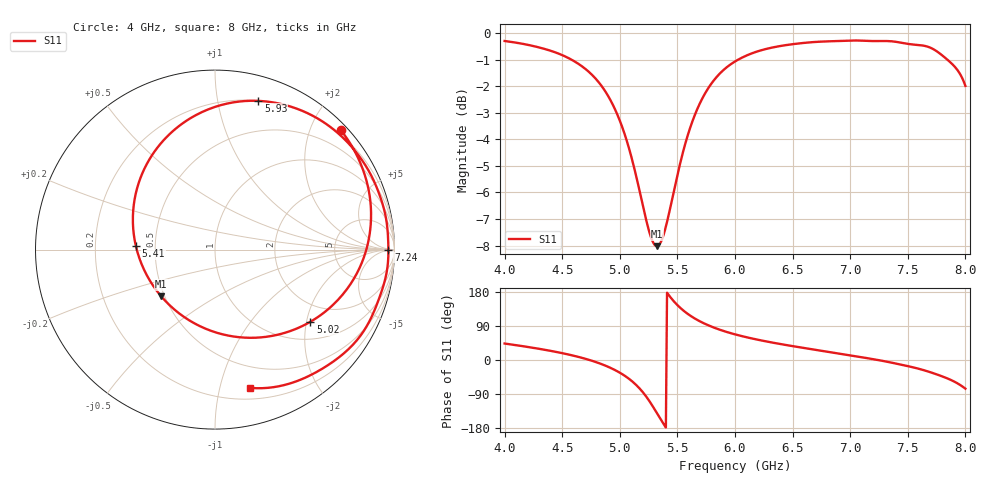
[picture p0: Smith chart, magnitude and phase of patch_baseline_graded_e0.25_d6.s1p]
! NobuRF patch_baseline_graded_e0.25_d6: port "feed", 10300 steps
# GHz S RI R 50
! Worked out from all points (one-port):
!   401 points, 4 GHz to 8 GHz, reference 50 ohm
!   lowest |S11| = -8.0 dB at 5.32 GHz (marker M1), VSWR 2.32, Z = 23.9 - j14.7 ohm
!   |S11| at or under -10 dB: nowhere
!   S11 on the Smith chart (normalised r, x): 4 GHz: 0.12, +2.50; 5.02 GHz: 1.46, -2.11; 5.41 GHz: 0.39, +0.02; 5.93 GHz: 0.20, +1.31; 7.24 GHz: 58, +1; 8 GHz: 0.30, -1.25
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4  0.7013 0.6649
4.26  0.8048 0.4941
4.5  0.8641 0.2823
4.66  0.8636 0.1009
4.79  0.8176 -0.0742
4.9  0.7227 -0.2365
5  0.5707 -0.3775
5.02  0.5311 -0.4022
5.11  0.3123 -0.4818
5.18  0.1037 -0.4843
5.25  -0.1133 -0.4116
5.32  -0.3007 -0.2592
5.41  -0.4406 0.0186
5.5  -0.4417 0.311
5.59  -0.3366 0.5469
5.69  -0.1635 0.715
5.8  0.0342 0.8054
5.93  0.2411 0.8286
6  0.336 0.8179
6.23  0.5782 0.7267
6.5  0.765 0.5685
7  0.9459 0.208
7.24  0.9661 0.000333
7.5  0.9167 -0.2655
7.65  0.8363 -0.4418
7.77  0.7035 -0.5901
7.89  0.501 -0.7143
8  0.1975 -0.7705
